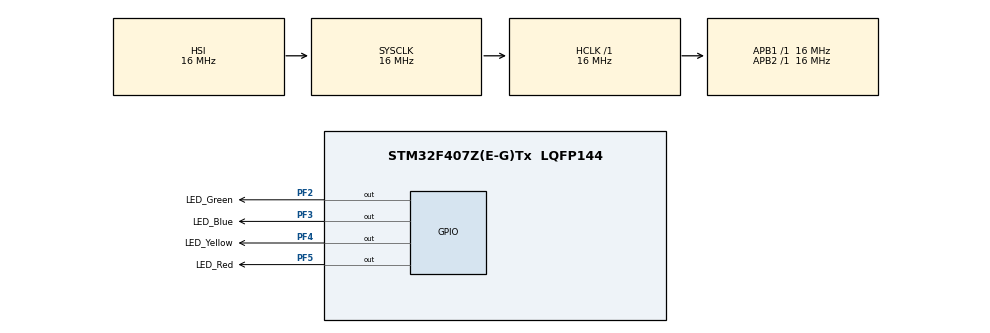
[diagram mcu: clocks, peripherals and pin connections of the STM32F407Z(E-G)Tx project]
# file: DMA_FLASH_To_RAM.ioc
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Dma.MEMTOMEM.0.Direction=DMA_MEMORY_TO_MEMORY
Dma.MEMTOMEM.0.FIFOMode=DMA_FIFOMODE_ENABLE
Dma.MEMTOMEM.0.FIFOThreshold=DMA_FIFO_THRESHOLD_FULL
Dma.MEMTOMEM.0.Instance=DMA2_Stream0
Dma.MEMTOMEM.0.MemBurst=DMA_MBURST_SINGLE
Dma.MEMTOMEM.0.MemDataAlignment=DMA_MDATAALIGN_WORD
Dma.MEMTOMEM.0.MemInc=DMA_MINC_ENABLE
Dma.MEMTOMEM.0.Mode=DMA_NORMAL
Dma.MEMTOMEM.0.PeriphBurst=DMA_PBURST_SINGLE
Dma.MEMTOMEM.0.PeriphDataAlignment=DMA_PDATAALIGN_WORD
Dma.MEMTOMEM.0.PeriphInc=DMA_PINC_ENABLE
Dma.MEMTOMEM.0.Priority=DMA_PRIORITY_HIGH
Dma.Request0=MEMTOMEM
Mcu.Family=STM32F4
Mcu.Name=STM32F407Z(E-G)Tx
Mcu.Package=LQFP144
NVIC.DMA2_Stream0_IRQn=true\:0\:0\:false\:false\:true\:true
NVIC.PriorityGroup=NVIC_PRIORITYGROUP_4
PF2.GPIO_Label=LED_Green
PF2.Signal=GPIO_Output
PF3.GPIO_Label=LED_Blue
PF3.Signal=GPIO_Output
PF4.GPIO_Label=LED_Yellow
PF4.Signal=GPIO_Output
PF5.GPIO_Label=LED_Red
PF5.Signal=GPIO_Output
ProjectManager.HeapSize=0x200
ProjectManager.StackSize=0x400
ProjectManager.TargetToolchain=Makefile
RCC.AHBFreq_Value=16000000
RCC.APB1Freq_Value=16000000
RCC.APB2Freq_Value=16000000
RCC.CortexFreq_Value=16000000
RCC.HSE_VALUE=25000000
RCC.HSI_VALUE=16000000
RCC.LSE_VALUE=32768
RCC.SYSCLKFreq_VALUE=16000000
RCC.VCOOutputFreq_Value=192000000
board=DMA_FLASH_To_RAM

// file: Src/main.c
/**
  ******************************************************************************
  * File Name          : main.c
  * Description        : Main program body
  ******************************************************************************
  ** This notice applies to any and all portions of this file
  * that are not between comment pairs USER CODE BEGIN and
  * USER CODE END. Other portions of this file, whether
  * inserted by the user or by software development tools
  * are owned by their respective copyright owners.
  *
  * COPYRIGHT(c) 2017 STMicroelectronics
  *
  * Redistribution and use in source and binary forms, with or without modification,
  * are permitted provided that the following conditions are met:
  *   1. Redistributions of source code must retain the above copyright notice,
  *      this list of conditions and the following disclaimer.
  *   2. Redistributions in binary form must reproduce the above copyright notice,
  *      this list of conditions and the following disclaimer in the documentation
  *      and/or other materials provided with the distribution.
  *   3. Neither the name of STMicroelectronics nor the names of its contributors
  *      may be used to endorse or promote products derived from this software
  *      without specific prior written permission.
  *
  * THIS SOFTWARE IS PROVIDED BY THE COPYRIGHT HOLDERS AND CONTRIBUTORS "AS IS"
  * AND ANY EXPRESS OR IMPLIED WARRANTIES, INCLUDING, BUT NOT LIMITED TO, THE
  * IMPLIED WARRANTIES OF MERCHANTABILITY AND FITNESS FOR A PARTICULAR PURPOSE ARE
  * DISCLAIMED. IN NO EVENT SHALL THE COPYRIGHT HOLDER OR CONTRIBUTORS BE LIABLE
  * FOR ANY DIRECT, INDIRECT, INCIDENTAL, SPECIAL, EXEMPLARY, OR CONSEQUENTIAL
  * DAMAGES (INCLUDING, BUT NOT LIMITED TO, PROCUREMENT OF SUBSTITUTE GOODS OR
  * SERVICES; LOSS OF USE, DATA, OR PROFITS; OR BUSINESS INTERRUPTION) HOWEVER
  * CAUSED AND ON ANY THEORY OF LIABILITY, WHETHER IN CONTRACT, STRICT LIABILITY,
  * OR TORT (INCLUDING NEGLIGENCE OR OTHERWISE) ARISING IN ANY WAY OUT OF THE USE
  * OF THIS SOFTWARE, EVEN IF ADVISED OF THE POSSIBILITY OF SUCH DAMAGE.
  *
  ******************************************************************************
  */

#include "main.h"
#include "stm32f4xx_hal.h"

DMA_HandleTypeDef hdma_memtomem_dma2_stream0;

/* USER CODE BEGIN PV */
/* Private variables ---------------------------------------------------------*/
/* DMA Handle declaration */
DMA_HandleTypeDef     DmaHandle;

static const uint32_t aSRC_Const_Buffer[BUFFER_SIZE]= {
                                    0x01020304,0x05060708,0x090A0B0C,0x0D0E0F10,
                                    0x11121314,0x15161718,0x191A1B1C,0x1D1E1F20,
                                    0x21222324,0x25262728,0x292A2B2C,0x2D2E2F30,
                                    0x31323334,0x35363738,0x393A3B3C,0x3D3E3F40,
                                    0x41424344,0x45464748,0x494A4B4C,0x4D4E4F50,
                                    0x51525354,0x55565758,0x595A5B5C,0x5D5E5F60,
                                    0x61626364,0x65666768,0x696A6B6C,0x6D6E6F70,
                                    0x71727374,0x75767778,0x797A7B7C,0x7D7E7F80};
static uint32_t aDST_Buffer[BUFFER_SIZE];

/* USER CODE END PV */

void SystemClock_Config(void);
static void MX_GPIO_Init(void);
static void MX_DMA_Init(void);

/* USER CODE BEGIN PFP */
/* Private function prototypes -----------------------------------------------*/
static void TransferComplete(DMA_HandleTypeDef *hdma_memtomem_dma2_stream0);
static void TransferError(DMA_HandleTypeDef *hdma_memtomem_dma2_stream0);
/* USER CODE END PFP */

int main(void)
{

  /* MCU Configuration----------------------------------------------------------*/

  /* Reset of all peripherals, Initializes the Flash interface and the Systick. */
  HAL_Init();

  /* Configure the system clock */
  SystemClock_Config();

  /* Initialize all configured peripherals */
  MX_GPIO_Init();
  MX_DMA_Init();

  /* Infinite loop */
  while (1)
  {

  }

}

/** System Clock Configuration
*/
void SystemClock_Config(void)
{

  RCC_OscInitTypeDef RCC_OscInitStruct;
  RCC_ClkInitTypeDef RCC_ClkInitStruct;

    /**Configure the main internal regulator output voltage
    */
  __HAL_RCC_PWR_CLK_ENABLE();

  __HAL_PWR_VOLTAGESCALING_CONFIG(PWR_REGULATOR_VOLTAGE_SCALE1);

    /**Initializes the CPU, AHB and APB busses clocks
    */
  RCC_OscInitStruct.OscillatorType = RCC_OSCILLATORTYPE_HSI;
  RCC_OscInitStruct.HSIState = RCC_HSI_ON;
  RCC_OscInitStruct.HSICalibrationValue = 16;
  RCC_OscInitStruct.PLL.PLLState = RCC_PLL_NONE;
  if (HAL_RCC_OscConfig(&RCC_OscInitStruct) != HAL_OK)
  {
    _Error_Handler(__FILE__, __LINE__);
  }

    /**Initializes the CPU, AHB and APB busses clocks
    */
  RCC_ClkInitStruct.ClockType = RCC_CLOCKTYPE_HCLK|RCC_CLOCKTYPE_SYSCLK
                              |RCC_CLOCKTYPE_PCLK1|RCC_CLOCKTYPE_PCLK2;
  RCC_ClkInitStruct.SYSCLKSource = RCC_SYSCLKSOURCE_HSI;
  RCC_ClkInitStruct.AHBCLKDivider = RCC_SYSCLK_DIV1;
  RCC_ClkInitStruct.APB1CLKDivider = RCC_HCLK_DIV1;
  RCC_ClkInitStruct.APB2CLKDivider = RCC_HCLK_DIV1;

  if (HAL_RCC_ClockConfig(&RCC_ClkInitStruct, FLASH_LATENCY_0) != HAL_OK)
  {
    _Error_Handler(__FILE__, __LINE__);
  }

    /**Configure the Systick interrupt time
    */
  HAL_SYSTICK_Config(HAL_RCC_GetHCLKFreq()/1000);

    /**Configure the Systick
    */
  HAL_SYSTICK_CLKSourceConfig(SYSTICK_CLKSOURCE_HCLK);

  /* SysTick_IRQn interrupt configuration */
  HAL_NVIC_SetPriority(SysTick_IRQn, 0, 0);
}

static void MX_DMA_Init(void)
{
  /* DMA controller clock enable */
  __HAL_RCC_DMA2_CLK_ENABLE();

  /* Configure DMA request hdma_memtomem_dma2_stream0 on DMA2_Stream0 */
  hdma_memtomem_dma2_stream0.Instance = DMA2_Stream0;
  hdma_memtomem_dma2_stream0.Init.Channel = DMA_CHANNEL_0;
  hdma_memtomem_dma2_stream0.Init.Direction = DMA_MEMORY_TO_MEMORY;
  hdma_memtomem_dma2_stream0.Init.PeriphInc = DMA_PINC_ENABLE;
  hdma_memtomem_dma2_stream0.Init.MemInc = DMA_MINC_ENABLE;
  hdma_memtomem_dma2_stream0.Init.PeriphDataAlignment = DMA_PDATAALIGN_WORD;
  hdma_memtomem_dma2_stream0.Init.MemDataAlignment = DMA_MDATAALIGN_WORD;
  hdma_memtomem_dma2_stream0.Init.Mode = DMA_NORMAL;
  hdma_memtomem_dma2_stream0.Init.Priority = DMA_PRIORITY_HIGH;
  hdma_memtomem_dma2_stream0.Init.FIFOMode = DMA_FIFOMODE_ENABLE;
  hdma_memtomem_dma2_stream0.Init.FIFOThreshold = DMA_FIFO_THRESHOLD_FULL;
  hdma_memtomem_dma2_stream0.Init.MemBurst = DMA_MBURST_SINGLE;
  hdma_memtomem_dma2_stream0.Init.PeriphBurst = DMA_PBURST_SINGLE;
  if (HAL_DMA_Init(&hdma_memtomem_dma2_stream0) != HAL_OK)
  {
    _Error_Handler(__FILE__, __LINE__);
  }

  /* DMA interrupt init */
  /* DMA2_Stream0_IRQn interrupt configuration */
  HAL_NVIC_SetPriority(DMA2_Stream0_IRQn, 0, 0);
  HAL_NVIC_EnableIRQ(DMA2_Stream0_IRQn);

}

/** Configure pins as
        * Analog
        * Input
        * Output
        * EVENT_OUT
        * EXTI
*/
static void MX_GPIO_Init(void)
{

  GPIO_InitTypeDef GPIO_InitStruct;

  /* GPIO Ports Clock Enable */
  __HAL_RCC_GPIOF_CLK_ENABLE();

  /*Configure GPIO pin Output Level */
  HAL_GPIO_WritePin(GPIOF, LED_Green_Pin|LED_Blue_Pin|LED_Yellow_Pin|LED_Red_Pin, GPIO_PIN_RESET);

  /*Configure GPIO pins : LED_Green_Pin LED_Blue_Pin LED_Yellow_Pin LED_Red_Pin */
  GPIO_InitStruct.Pin = LED_Green_Pin|LED_Blue_Pin|LED_Yellow_Pin|LED_Red_Pin;
  GPIO_InitStruct.Mode = GPIO_MODE_OUTPUT_PP;
  GPIO_InitStruct.Pull = GPIO_NOPULL;
  GPIO_InitStruct.Speed = GPIO_SPEED_FREQ_LOW;
  HAL_GPIO_Init(GPIOF, &GPIO_InitStruct);

}

/* USER CODE BEGIN 4 */
/**
  * Enable DMA controller clock
  * Configure DMA for memory to memory transfers
  *   hdma_memtomem_dma2_stream0
  */
static void MX_DMA_Init(void)
{
  /*## -1-  DMA controller clock enable ##############################################*/
  __HAL_RCC_DMA2_CLK_ENABLE();

  /* Configure DMA request hdma_memtomem_dma2_stream0 on DMA2_Stream0 ################*/
  hdma_memtomem_dma2_stream0.Instance = DMA2_Stream0;
  hdma_memtomem_dma2_stream0.Init.Channel = DMA_CHANNEL_0;
  hdma_memtomem_dma2_stream0.Init.Direction = DMA_MEMORY_TO_MEMORY;
  hdma_memtomem_dma2_stream0.Init.PeriphInc = DMA_PINC_ENABLE;
  hdma_memtomem_dma2_stream0.Init.MemInc = DMA_MINC_ENABLE;
  hdma_memtomem_dma2_stream0.Init.PeriphDataAlignment = DMA_PDATAALIGN_WORD;
  hdma_memtomem_dma2_stream0.Init.MemDataAlignment = DMA_MDATAALIGN_WORD;
  hdma_memtomem_dma2_stream0.Init.Mode = DMA_NORMAL;
  hdma_memtomem_dma2_stream0.Init.Priority = DMA_PRIORITY_HIGH;
  hdma_memtomem_dma2_stream0.Init.FIFOMode = DMA_FIFOMODE_DISABLE;
  hdma_memtomem_dma2_stream0.Init.FIFOThreshold = DMA_FIFO_THRESHOLD_FULL;
  hdma_memtomem_dma2_stream0.Init.MemBurst = DMA_MBURST_SINGLE;
  hdma_memtomem_dma2_stream0.Init.PeriphBurst = DMA_PBURST_SINGLE;

  /*## -4- Select Callback functions called after Transfer complete and Transfer error*/
  hdma_memtomem_dma2_stream0.XferCpltCallback = TransferComplete;
  hdma_memtomem_dma2_stream0.XferErrorCallback = TransferError;

  /*## -5- Initialize the DMA stream #################################################*/
  if (HAL_DMA_Init(&hdma_memtomem_dma2_stream0) != HAL_OK)
  {
    _Error_Handler(__FILE__, __LINE__);
  }

  /*## -6- Configure NVIC for DMA transfer complete/error interrupts ################*/
  /* Set Interrupt Group Priority */
  HAL_NVIC_SetPriority(DMA2_Stream0_IRQn, 0, 0);

  /* Enable the DMA STREAM global Interrupt */
  HAL_NVIC_EnableIRQ(DMA2_Stream0_IRQn);

  /*## -7- Start the DMA transfer using the interrupt mode #########################*/
  /* Configure the source, destination and buffer size DMA fields and Start DMA Stream transfer */
  /* Enable All the DMA interrupts */
  if(HAL_DMA_Start_IT(&hdma_memtomem_dma2_stream0, (uint32_t)&aSRC_Const_Buffer, (uint32_t)&aDST_Buffer, BUFFER_SIZE) != HAL_OK)
  {
    _Error_Handler(__FILE__,__LINE__);
  }

}

/**
  * @brief  DMA conversion complete callback
  * @note   This function is executed when the transfer complete interrupt
  *         is generated
  * @retval None
  */
static void TransferComplete(DMA_HandleTypeDef *hdma_memtomem_dma2_stream0)
{
  /* Turn LED_Green on: Transfer correct */
  HAL_GPIO_WritePin(LED_Green_GPIO_Port, LED_Green_Pin, GPIO_PIN_SET);
}

/**
  * @brief  DMA conversion error callback
  * @note   This function is executed when the transfer error interrupt
  *         is generated during DMA transfer
  * @retval None
  */
static void TransferError(DMA_HandleTypeDef *hdma_memtomem_dma2_stream0)
{
  /* Turn LED_Red on: Transfer Error */
  HAL_GPIO_WritePin(LED_Red_GPIO_Port, LED_Red_Pin, GPIO_PIN_SET);
}

/* USER CODE END 4 */

void _Error_Handler(char * file, int line)
{
  while(1)
  {
  }
}

/************************ (C) COPYRIGHT STMicroelectronics *****END OF FILE****/
